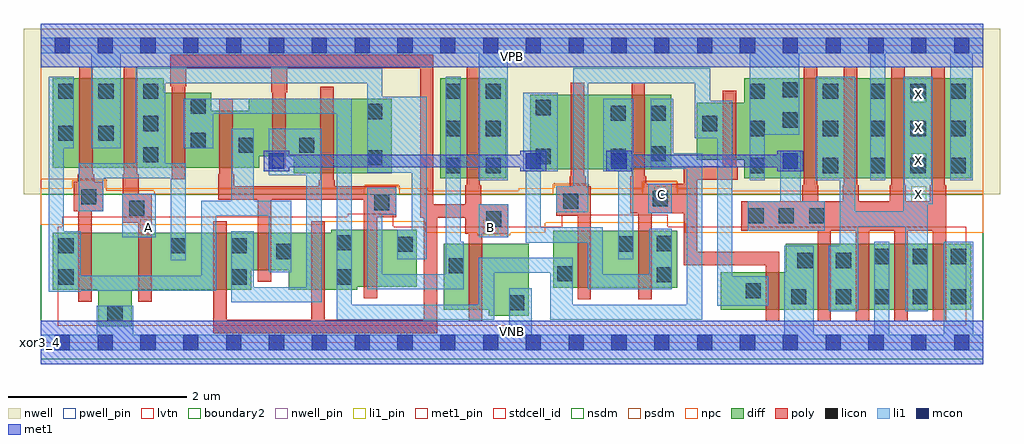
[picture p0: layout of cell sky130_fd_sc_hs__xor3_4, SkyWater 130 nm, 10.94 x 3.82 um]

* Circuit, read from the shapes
.subckt sky130_fd_sc_hs__xor3_4 A B C VGND VNB VPB VPWR X
XM1 VGND n1 n2 VNB sky130_fd_pr__nfet_01v8_lvt w=0.64 l=0.15
XM2 n1 A VGND VNB sky130_fd_pr__nfet_01v8_lvt w=0.64 l=0.15
XM3 n3 B n1 VNB sky130_fd_pr__nfet_01v8_lvt w=0.64 l=0.15
XM4 n2 n4 n3 VNB sky130_fd_pr__nfet_01v8_lvt w=0.42 l=0.15
XM5 n5 B n2 VNB sky130_fd_pr__nfet_01v8_lvt w=0.64 l=0.15
XM6 n1 n4 n5 VNB sky130_fd_pr__nfet_01v8_lvt w=0.64 l=0.15
XM7 VGND B n4 VNB sky130_fd_pr__nfet_01v8_lvt w=0.74 l=0.15
XM8 n6 n7 n5 VNB sky130_fd_pr__nfet_01v8_lvt w=0.64 l=0.15
XM9 n3 C n6 VNB sky130_fd_pr__nfet_01v8_lvt w=0.64 l=0.15
XM10 VGND C n7 VNB sky130_fd_pr__nfet_01v8_lvt w=0.42 l=0.15
XM11 X n6 VGND VNB sky130_fd_pr__nfet_01v8_lvt w=0.74 l=0.15 m=4
XM12 VPWR n1 n2 VPB sky130_fd_pr__pfet_01v8 w=1 l=0.15
XM13 n1 A VPWR VPB sky130_fd_pr__pfet_01v8 w=1 l=0.15
XM14 n5 B n1 VPB sky130_fd_pr__pfet_01v8 w=0.84 l=0.15
XM15 n2 n4 n5 VPB sky130_fd_pr__pfet_01v8 w=0.64 l=0.15
XM16 n3 B n2 VPB sky130_fd_pr__pfet_01v8 w=0.64 l=0.15
XM17 n1 n4 n3 VPB sky130_fd_pr__pfet_01v8 w=0.84 l=0.15
XM18 VPWR B n4 VPB sky130_fd_pr__pfet_01v8 w=1.12 l=0.15
XM19 n6 n7 n3 VPB sky130_fd_pr__pfet_01v8 w=0.84 l=0.15
XM20 n5 C n6 VPB sky130_fd_pr__pfet_01v8 w=0.84 l=0.15
XM21 VPWR C n7 VPB sky130_fd_pr__pfet_01v8 w=0.64 l=0.15
XM22 X n6 VPWR VPB sky130_fd_pr__pfet_01v8 w=1.12 l=0.15 m=4
.ends

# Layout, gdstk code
import gdstk
lib = gdstk.Library(unit=1e-6, precision=1e-09)
def R(c, l, rs):  # rectangles x0, y0, x1, y1
    for r in rs: c.add(gdstk.rectangle(r[:2], r[2:], *l))
def A(c, l, x, y, w, h, nx, ny, dx, dy):  # array of equal rectangles
    R(c, l, [(x+i*dx, y+j*dy, x+i*dx+w, y+j*dy+h) for i in range(nx) for j in range(ny)])
def P(c, l, *ps):  # polygons
    for p in ps: c.add(gdstk.Polygon(p, *l))
nwell_pin = (64, 16)
nwell = (64, 20)
diff = (65, 20)
poly = (66, 20)
licon = (66, 44)
li1_pin = (67, 16)
li1 = (67, 20)
mcon = (67, 44)
met1_pin = (68, 16)
met1 = (68, 20)
stdcell_id = (81, 4)
nsdm = (93, 44)
psdm = (94, 20)
npc = (95, 20)
pwell_pin = (122, 16)
lvtn = (125, 44)
boundary2 = (236, 0)

sky130_fd_sc_hs__xor3_4 = lib.new_cell('sky130_fd_sc_hs__xor3_4')
R(sky130_fd_sc_hs__xor3_4, nwell_pin, [(0,3.085,10.56,3.33)])
R(sky130_fd_sc_hs__xor3_4, nwell, [(-0.19,1.66,10.75,3.52)])
R(sky130_fd_sc_hs__xor3_4, diff, [(5.74,0.615,7.13,1.255), (4.475,1.84,5.215,2.96), (5.485,1.94,7.065,2.78)])
P(sky130_fd_sc_hs__xor3_4, diff, [(3.93,2.735),(2.865,2.735),(2.865,2.73),(2.33,2.73),(2.33,2.6),(1.91,2.6),(1.91,2.8),(1.375,2.8),(1.375,2.96),(0.135,2.96),(0.135,1.96),(2.445,1.96),(2.445,2.09),(2.835,2.09),(2.835,1.895),(3.93,1.895)],
  [(4.215,1.265),(3.255,1.265),(3.255,1.23),(0.135,1.23),(0.135,0.59),(0.645,0.59),(0.645,0.18),(1.015,0.18),(1.015,0.59),(2.355,0.59),(2.355,0.81),(2.78,0.81),(2.78,0.59),(3.545,0.59),(3.545,0.625),(4.215,0.625)],
  [(10.425,1.11),(8.35,1.11),(8.35,0.79),(7.62,0.79),(7.62,0.37),(10.425,0.37)],
  [(5.47,1.11),(4.515,1.11),(4.515,0.37),(5.02,0.37),(5.02,0.3),(5.47,0.3)],
  [(10.425,2.96),(7.885,2.96),(7.885,2.69),(7.35,2.69),(7.35,2.05),(7.885,2.05),(7.885,1.84),(10.425,1.84)])
P(sky130_fd_sc_hs__xor3_4, poly, [(0.7,1.8),(0.595,1.8),(0.595,1.885),(0.58,1.885),(0.58,3.09),(0.43,3.09),(0.43,1.885),(0.415,1.885),(0.415,1.8),(0.37,1.8),(0.37,1.47),(0.42,1.47),(0.42,0.46),(0.57,0.46),(0.57,1.47),(0.7,1.47)],
  [(1.24,1.67),(1.095,1.67),(1.095,1.885),(1.08,1.885),(1.08,3.09),(0.93,3.09),(0.93,1.885),(0.915,1.885),(0.915,1.67),(0.91,1.67),(0.91,1.34),(1.09,1.34),(1.09,0.46),(1.24,0.46)],
  [(3.985,1.75),(3.295,1.75),(3.295,1.82),(3.28,1.82),(3.28,2.865),(3.13,2.865),(3.13,1.82),(3.115,1.82),(3.115,1.75),(2.165,1.75),(2.165,1.885),(2.15,1.885),(2.15,2.73),(2,2.73),(2,1.885),(1.985,1.885),(1.985,1.6),(2.43,1.6),(2.43,0.68),(2.58,0.68),(2.58,1.6),(3.62,1.6),(3.62,0.495),(3.77,0.495),(3.77,1.405),(3.985,1.405)],
  [(5.24,1.55),(4.935,1.55),(4.935,1.765),(4.92,1.765),(4.92,3.09),(4.77,3.09),(4.77,1.765),(4.755,1.765),(4.755,1.55),(4.4,1.55),(4.4,3.225),(1.45,3.225),(1.45,2.875),(1.465,2.875),(1.465,1.83),(1.615,1.83),(1.615,2.875),(1.63,2.875),(1.63,3.075),(2.58,3.075),(2.58,2.805),(2.595,2.805),(2.595,1.96),(2.745,1.96),(2.745,2.805),(2.76,2.805),(2.76,3.075),(4.25,3.075),(4.25,1.4),(4.29,1.4),(4.29,0.255),(3.18,0.255),(3.18,1.36),(3.03,1.36),(3.03,0.255),(2.08,0.255),(2.08,1.36),(1.93,1.36),(1.93,0.105),(4.44,0.105),(4.44,1.4),(4.755,1.4),(4.755,1.22),(4.795,1.22),(4.795,0.24),(4.945,0.24),(4.945,1.22),(5.24,1.22)],
  [(6.165,1.75),(6.105,1.75),(6.105,1.865),(6.09,1.865),(6.09,2.91),(5.94,2.91),(5.94,1.865),(5.925,1.865),(5.925,1.75),(5.775,1.75),(5.775,1.42),(6.015,1.42),(6.015,0.485),(6.165,0.485)],
  [(8.275,1.015),(7.355,1.015),(7.355,1.825),(7.81,1.825),(7.81,1.975),(7.795,1.975),(7.795,2.82),(7.645,2.82),(7.645,1.975),(7.205,1.975),(7.205,1.78),(6.785,1.78),(6.785,1.865),(6.77,1.865),(6.77,2.91),(6.62,2.91),(6.62,1.865),(6.605,1.865),(6.605,1.45),(6.695,1.45),(6.695,0.485),(6.845,0.485),(6.845,1.45),(7.205,1.45),(7.205,0.865),(8.125,0.865),(8.125,0.24),(8.275,0.24)],
  [(10.145,1.765),(10.13,1.765),(10.13,3.09),(9.98,3.09),(9.98,1.765),(9.965,1.765),(9.965,1.585),(9.695,1.585),(9.695,1.765),(9.68,1.765),(9.68,3.09),(9.53,3.09),(9.53,1.765),(9.515,1.765),(9.515,1.585),(9.165,1.585),(9.165,1.765),(9.15,1.765),(9.15,3.09),(9,3.09),(9,1.765),(8.985,1.765),(8.985,1.585),(8.715,1.585),(8.715,1.765),(8.7,1.765),(8.7,3.09),(8.55,3.09),(8.55,1.765),(8.535,1.765),(8.535,1.585),(7.85,1.585),(7.85,1.255),(8.705,1.255),(8.705,0.24),(8.855,0.24),(8.855,1.255),(9.135,1.255),(9.135,0.24),(9.285,0.24),(9.285,1.255),(9.565,1.255),(9.565,0.24),(9.715,0.24),(9.715,1.255),(9.995,1.255),(9.995,0.24),(10.145,0.24)])
A(sky130_fd_sc_hs__xor3_4, licon, 8.91, 0.43, 0.17, 0.17, 4, 1, 0.43, 0)
A(sky130_fd_sc_hs__xor3_4, licon, 9.34, 0.88, 0.17, 0.17, 3, 1, 0.43, 0)
A(sky130_fd_sc_hs__xor3_4, licon, 7.93, 1.335, 0.17, 0.17, 3, 1, 0.34, 0)
A(sky130_fd_sc_hs__xor3_4, licon, 4.535, 1.9, 0.17, 0.17, 1, 3, 0, 0.415)
A(sky130_fd_sc_hs__xor3_4, licon, 4.985, 1.9, 0.17, 0.17, 1, 3, 0, 0.415)
A(sky130_fd_sc_hs__xor3_4, licon, 7.945, 1.9, 0.17, 0.17, 1, 3, 0, 0.415)
A(sky130_fd_sc_hs__xor3_4, licon, 8.765, 1.9, 0.17, 0.17, 1, 3, 0, 0.415)
A(sky130_fd_sc_hs__xor3_4, licon, 9.295, 1.9, 0.17, 0.17, 3, 3, 0.45, 0.415)
R(sky130_fd_sc_hs__xor3_4, licon, [(0.745,0.24,0.915,0.41), (5.25,0.36,5.42,0.53), (8.41,0.43,8.58,0.6), (7.9,0.495,8.07,0.665), (0.195,0.65,0.365,0.82), (2.135,0.65,2.305,0.82), (3.315,0.65,3.485,0.82), (6.9,0.675,7.07,0.845), (5.79,0.685,5.96,0.855), (4.57,0.775,4.74,0.945), (8.48,0.835,8.65,1.005), (8.91,0.835,9.08,1.005), (2.635,0.935,2.805,1.105), (0.195,1,0.365,1.17), (1.455,1,1.625,1.17), (2.135,1,2.305,1.17), (3.995,1.015,4.165,1.185), (6.47,1.02,6.64,1.19), (6.9,1.025,7.07,1.195), (3.315,1.035,3.485,1.205), (4.99,1.3,5.16,1.47), (0.99,1.42,1.16,1.59), (3.735,1.485,3.905,1.655), (5.855,1.5,6.025,1.67), (6.855,1.53,7.025,1.7), (0.45,1.55,0.62,1.72), (3.655,1.985,3.825,2.155), (5.545,2,5.715,2.17), (6.385,2,6.555,2.17), (1.145,2.02,1.315,2.19), (6.835,2.03,7.005,2.2), (2.215,2.125,2.385,2.295), (2.895,2.125,3.065,2.295), (1.68,2.18,1.85,2.35), (0.195,2.26,0.365,2.43), (0.645,2.26,0.815,2.43), (1.145,2.37,1.315,2.54), (7.41,2.37,7.58,2.54), (8.315,2.41,8.485,2.58), (6.385,2.485,6.555,2.655), (6.835,2.485,7.005,2.655), (3.655,2.505,3.825,2.675), (5.545,2.55,5.715,2.72), (1.68,2.565,1.85,2.735), (0.195,2.73,0.365,2.9), (0.645,2.73,0.815,2.9), (1.145,2.73,1.315,2.9), (8.315,2.75,8.485,2.92)])
A(sky130_fd_sc_hs__xor3_4, li1_pin, 9.755, 1.58, 0.17, 0.17, 1, 4, 0, 0.37)
R(sky130_fd_sc_hs__xor3_4, li1_pin, [(1.115,1.21,1.285,1.38), (4.955,1.21,5.125,1.38), (6.875,1.58,7.045,1.75)])
R(sky130_fd_sc_hs__xor3_4, li1, [(0.91,1.18,1.285,1.67), (4.91,1.18,5.24,1.55), (6.81,1.45,7.07,1.78)])
P(sky130_fd_sc_hs__xor3_4, li1, [(2.805,1.59),(2.385,1.59),(2.385,2.395),(2.135,2.395),(2.135,1.59),(1.795,1.59),(1.795,0.75),(0.445,0.75),(0.445,1.25),(0.255,1.25),(0.255,2.18),(0.365,2.18),(0.365,2.98),(0.085,2.98),(0.085,0.57),(0.445,0.57),(0.445,0.58),(1.965,0.58),(1.965,1.42),(2.555,1.42),(2.555,0.79),(2.805,0.79)],
  [(3.145,2.395),(2.555,2.395),(2.555,1.875),(2.975,1.875),(2.975,0.62),(2.385,0.62),(2.385,1.25),(2.135,1.25),(2.135,0.45),(3.145,0.45)],
  [(4.325,2.755),(3.825,2.755),(3.825,3.075),(1.065,3.075),(1.065,2.01),(0.425,2.01),(0.425,1.47),(0.7,1.47),(0.7,1.84),(1.455,1.84),(1.455,0.92),(1.625,0.92),(1.625,2.01),(1.395,2.01),(1.395,2.905),(3.655,2.905),(3.655,1.905),(4.155,1.905),(4.155,1.265),(3.995,1.265),(3.995,0.935),(4.325,0.935)],
  [(4.74,1.13),(4.705,1.13),(4.705,2.98),(4.535,2.98),(4.535,0.765),(3.825,0.765),(3.825,1.435),(3.985,1.435),(3.985,1.735),(3.655,1.735),(3.655,0.595),(4.74,0.595)],
  [(6.64,2.735),(6.305,2.735),(6.305,1.92),(6.47,1.92),(6.47,0.935),(6.64,0.935)],
  [(7.07,1.275),(6.82,1.275),(6.82,0.765),(6.3,0.765),(6.3,1.29),(5.605,1.29),(5.605,1.92),(5.795,1.92),(5.795,2.8),(5.405,2.8),(5.405,1.92),(5.435,1.92),(5.435,1.12),(6.13,1.12),(6.13,0.595),(7.07,0.595)],
  [(7.41,2.12),(7.085,2.12),(7.085,2.735),(6.835,2.735),(6.835,1.95),(7.24,1.95),(7.24,0.425),(5.96,0.425),(5.96,0.95),(4.91,0.95),(4.91,0.425),(3.485,0.425),(3.485,2.735),(1.6,2.735),(1.6,2.18),(1.93,2.18),(1.93,2.565),(3.315,2.565),(3.315,0.255),(5.08,0.255),(5.08,0.78),(5.71,0.78),(5.71,0.255),(7.41,0.255)],
  [(8.15,0.745),(7.75,0.745),(7.75,2.71),(7.5,2.71),(7.5,3.075),(5.965,3.075),(5.965,1.75),(5.775,1.75),(5.775,1.46),(6.135,1.46),(6.135,2.905),(7.33,2.905),(7.33,2.29),(7.58,2.29),(7.58,0.415),(8.15,0.415)],
  [(8.785,1.585),(8.515,1.585),(8.515,2.15),(8.285,2.15),(8.285,1.585),(7.92,1.585),(7.92,1.255),(8.785,1.255)],
  [(9.995,2.98),(9.665,2.98),(9.665,1.47),(9.125,1.47),(9.125,2.98),(8.685,2.98),(8.685,1.82),(8.955,1.82),(8.955,1.085),(8.83,1.085),(8.83,0.35),(9.16,0.35),(9.16,1.3),(9.69,1.3),(9.69,0.35),(9.94,0.35),(9.94,1.55),(9.995,1.55)],
  [(10.56,3.415),(0,3.415),(0,3.245),(0.565,3.245),(0.565,2.18),(0.895,2.18),(0.895,3.245),(4.905,3.245),(4.905,1.82),(5.235,1.82),(5.235,3.245),(7.945,3.245),(7.945,1.82),(8.115,1.82),(8.115,2.33),(8.5,2.33),(8.5,3.245),(9.295,3.245),(9.295,1.82),(9.465,1.82),(9.465,3.245),(10.195,3.245),(10.195,1.82),(10.445,1.82),(10.445,3.245),(10.56,3.245)],
  [(10.56,0.085),(10.45,0.085),(10.45,1.13),(10.12,1.13),(10.12,0.085),(9.51,0.085),(9.51,1.13),(9.34,1.13),(9.34,0.085),(8.66,0.085),(8.66,1.085),(8.33,1.085),(8.33,0.085),(5.5,0.085),(5.5,0.61),(5.25,0.61),(5.25,0.085),(1.035,0.085),(1.035,0.41),(0.625,0.41),(0.625,0.085),(0,0.085),(0,-0.085),(10.56,-0.085)])
A(sky130_fd_sc_hs__xor3_4, mcon, 0.155, -0.085, 0.17, 0.17, 22, 2, 0.48, 3.33)
R(sky130_fd_sc_hs__xor3_4, mcon, [(2.555,1.95,2.725,2.12), (5.435,1.95,5.605,2.12), (6.395,1.95,6.565,2.12), (8.315,1.95,8.485,2.12)])
R(sky130_fd_sc_hs__xor3_4, met1_pin, [(0,0,10.56,0.245), (0,3.085,10.56,3.33)])
R(sky130_fd_sc_hs__xor3_4, met1, [(0,-0.245,10.56,0.245), (0,3.085,10.56,3.575)])
P(sky130_fd_sc_hs__xor3_4, met1, [(5.665,2.15),(5.375,2.15),(5.375,2.105),(2.785,2.105),(2.785,2.15),(2.495,2.15),(2.495,1.92),(2.785,1.92),(2.785,1.965),(5.375,1.965),(5.375,1.92),(5.665,1.92)],
  [(8.545,2.15),(8.255,2.15),(8.255,2.105),(6.625,2.105),(6.625,2.15),(6.335,2.15),(6.335,1.92),(6.625,1.92),(6.625,1.965),(8.255,1.965),(8.255,1.92),(8.545,1.92)])
R(sky130_fd_sc_hs__xor3_4, stdcell_id, [(0,0,10.56,3.33)])
R(sky130_fd_sc_hs__xor3_4, nsdm, [(0,-0.19,10.56,1.66)])
P(sky130_fd_sc_hs__xor3_4, psdm, [(10.56,3.52),(0,3.52),(0,1.83),(0.73,1.83),(0.73,1.7),(1.27,1.7),(1.27,1.66),(3.625,1.66),(3.625,1.765),(4.015,1.765),(4.015,1.66),(5.745,1.66),(5.745,1.78),(6.135,1.78),(6.135,1.66),(6.745,1.66),(6.745,1.81),(7.135,1.81),(7.135,1.66),(10.56,1.66)])
P(sky130_fd_sc_hs__xor3_4, npc, [(10.56,1.7),(7.745,1.7),(7.745,1.73),(7.125,1.73),(7.125,1.8),(6.755,1.8),(6.755,1.73),(6.125,1.73),(6.125,1.77),(5.755,1.77),(5.755,1.73),(5.355,1.73),(5.355,1.7),(4.335,1.7),(4.335,1.73),(4.005,1.73),(4.005,1.755),(3.635,1.755),(3.635,1.73),(0.72,1.73),(0.72,1.82),(0.35,1.82),(0.35,1.73),(0,1.73),(0,1.32),(3.165,1.32),(3.165,1.355),(4.305,1.355),(4.305,1.23),(4.89,1.23),(4.89,1.2),(5.26,1.2),(5.26,1.23),(5.65,1.23),(5.65,1.345),(7.22,1.345),(7.22,1.23),(10.56,1.23)])
R(sky130_fd_sc_hs__xor3_4, pwell_pin, [(0,0,10.56,0.245)])
P(sky130_fd_sc_hs__xor3_4, lvtn, [(10.37,1.3),(7.025,1.3),(7.025,1.435),(5.835,1.435),(5.835,1.3),(3.95,1.3),(3.95,1.445),(3.44,1.445),(3.44,1.41),(0.24,1.41),(0.24,1.3),(0.19,1.3),(0.19,0.19),(10.37,0.19)])
R(sky130_fd_sc_hs__xor3_4, boundary2, [(0,0,10.56,3.33)])
sky130_fd_sc_hs__xor3_4.add(gdstk.Label('xor3_4', (0,0), layer=83, texttype=44))
sky130_fd_sc_hs__xor3_4.add(gdstk.Label('VNB', (5.28,0.123), layer=64, texttype=59))
sky130_fd_sc_hs__xor3_4.add(gdstk.Label('VPB', (5.28,3.208), layer=64, texttype=5))
sky130_fd_sc_hs__xor3_4.add(gdstk.Label('VPWR', (5.28,3.208), layer=68, texttype=5))
sky130_fd_sc_hs__xor3_4.add(gdstk.Label('VGND', (5.28,0.123), layer=68, texttype=5))
sky130_fd_sc_hs__xor3_4.add(gdstk.Label('X', (9.84,1.665), layer=67, texttype=5))
sky130_fd_sc_hs__xor3_4.add(gdstk.Label('X', (9.84,2.035), layer=67, texttype=5))
sky130_fd_sc_hs__xor3_4.add(gdstk.Label('X', (9.84,2.405), layer=67, texttype=5))
sky130_fd_sc_hs__xor3_4.add(gdstk.Label('X', (9.84,2.775), layer=67, texttype=5))
sky130_fd_sc_hs__xor3_4.add(gdstk.Label('B', (5.04,1.295), layer=67, texttype=5))
sky130_fd_sc_hs__xor3_4.add(gdstk.Label('C', (6.96,1.665), layer=67, texttype=5))
sky130_fd_sc_hs__xor3_4.add(gdstk.Label('A', (1.2,1.295), layer=67, texttype=5))

lib.write_gds('sky130_fd_sc_hs__xor3_4.gds')
